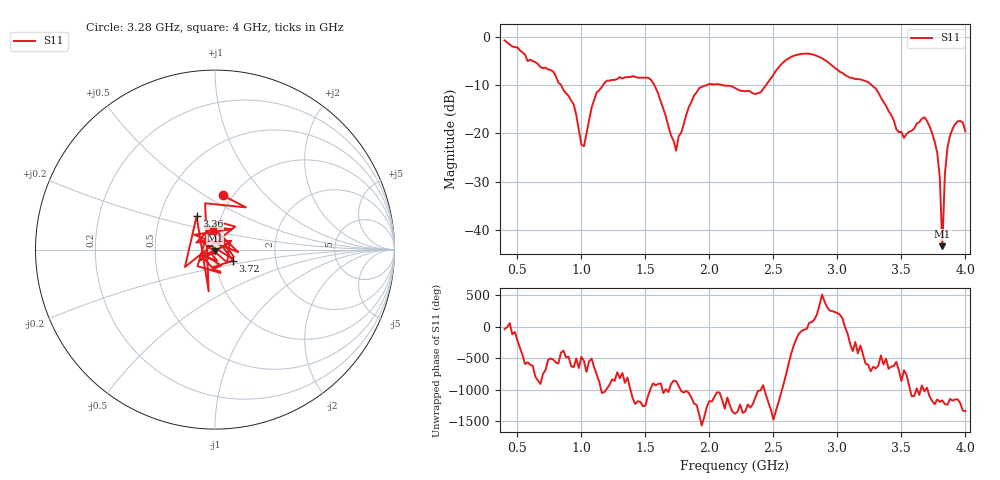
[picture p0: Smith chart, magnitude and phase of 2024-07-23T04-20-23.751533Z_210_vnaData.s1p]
!Created with skrf (http://scikit-rf.org).
# Hz S RI R 50.0
!freq ReS11 ImS11
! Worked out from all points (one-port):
!   181 points, 400 MHz to 4 GHz, reference 50 ohm
!   lowest |S11| = -43.3 dB at 3.82 GHz (marker M1), VSWR 1.01, Z = 50 - j0.681 ohm
!   |S11| at or under -10 dB: 1.569 GHz to 1.983 GHz (413.6 MHz wide, 23.3 % of centre); 2.097 GHz to 2.443 GHz (345.2 MHz wide, 15.2 % of centre); 3.267 GHz to end of sweep (the widest 3 of 4)
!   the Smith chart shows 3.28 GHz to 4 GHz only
!   S11 on the Smith chart (normalised r, x): 3.28 GHz: 0.90, +0.60; 3.36 GHz: 0.76, +0.30; 3.72 GHz: 1.21, -0.15; 4 GHz: 0.96, +0.20
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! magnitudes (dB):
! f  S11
! 400 MHz  -0.8
! 780 MHz  -7.2
! 860 MHz  -11.0
! 940 MHz  -14.0
! 1.02 GHz  -22.6
! 1.12 GHz  -11.5
! 1.3 GHz  -8.4
! 1.54 GHz  -8.8
! 1.74 GHz  -23.6
! 1.76 GHz  -20.6
! 1.92 GHz  -10.6
! 2.2 GHz  -10.6
! 2.4 GHz  -11.5
! 2.66 GHz  -3.9
! 3.1 GHz  -8.5
! 3.28 GHz  -10.3
! 3.36 GHz  -13.5
! 3.48 GHz  -19.7
! 3.56 GHz  -19.6
! 3.68 GHz  -16.7
! 3.72 GHz  -18.5
! 3.78 GHz  -24.0
! 3.8 GHz  -29.1
! 3.82 GHz  -43.3
! 3.84 GHz  -28.3
! 3.86 GHz  -22.9
! 3.94 GHz  -17.5
! 4 GHz  -19.6
